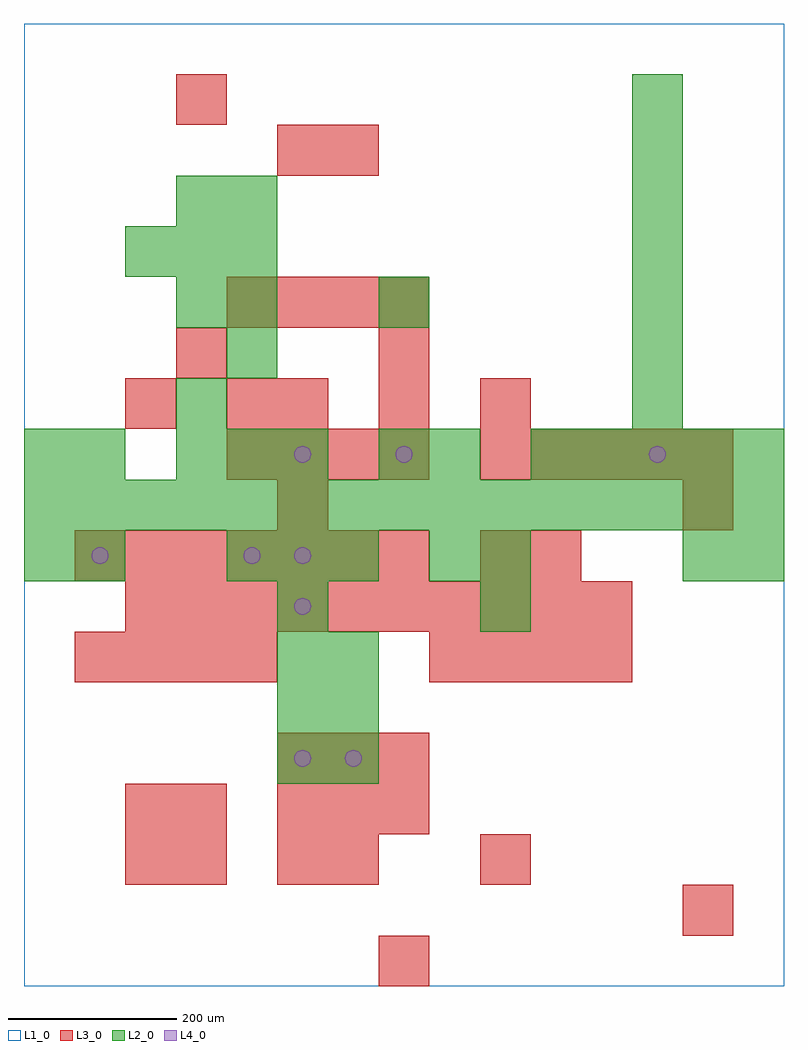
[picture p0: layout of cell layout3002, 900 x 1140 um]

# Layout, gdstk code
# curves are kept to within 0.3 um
import gdstk
lib = gdstk.Library(unit=1e-6, precision=1e-09)
def R(c, l, rs):  # rectangles x0, y0, x1, y1
    for r in rs: c.add(gdstk.rectangle(r[:2], r[2:], *l))
def A(c, l, x, y, w, h, nx, ny, dx, dy):  # array of equal rectangles
    R(c, l, [(x+i*dx, y+j*dy, x+i*dx+w, y+j*dy+h) for i in range(nx) for j in range(ny)])
def P(c, l, *ps):  # polygons
    for p in ps: c.add(gdstk.Polygon(p, *l))
L1_0 = (1, 0)
L2_0 = (2, 0)
L3_0 = (3, 0)
L4_0 = (4, 0)

layout3002 = lib.new_cell('layout3002')
R(layout3002, L1_0, [(0,0,900,1140)])
A(layout3002, L2_0, 300, 240, 60, 60, 1, 4, 0, 60)
A(layout3002, L2_0, 360, 240, 60, 60, 1, 3, 0, 60)
A(layout3002, L2_0, 240, 480, 60, 60, 3, 1, 60, 0)
A(layout3002, L2_0, 0, 540, 60, 60, 15, 1, 60, 0)
A(layout3002, L2_0, 180, 600, 60, 60, 3, 1, 60, 0)
A(layout3002, L2_0, 600, 600, 60, 60, 5, 1, 60, 0)
A(layout3002, L2_0, 180, 660, 60, 60, 1, 3, 0, 120)
A(layout3002, L2_0, 720, 660, 60, 60, 1, 7, 0, 60)
A(layout3002, L2_0, 120, 840, 60, 60, 3, 1, 60, 0)
R(layout3002, L2_0, [(540,420,600,480), (0,480,60,540), (60,480,120,540), (480,480,540,540), (540,480,600,540), (780,480,840,540), (840,480,900,540), (0,600,60,660), (60,600,120,660), (420,600,480,660), (480,600,540,660), (240,720,300,780), (240,780,300,840), (420,780,480,840), (240,900,300,960)])
A(layout3002, L3_0, 300, 120, 60, 60, 1, 3, 0, 420)
A(layout3002, L3_0, 300, 180, 60, 60, 3, 2, 60, 60)
A(layout3002, L3_0, 60, 360, 60, 60, 4, 1, 60, 0)
A(layout3002, L3_0, 480, 360, 60, 60, 4, 1, 60, 0)
A(layout3002, L3_0, 120, 420, 60, 60, 10, 1, 60, 0)
A(layout3002, L3_0, 60, 480, 60, 60, 7, 1, 60, 0)
A(layout3002, L3_0, 240, 600, 60, 60, 4, 2, 60, 180)
A(layout3002, L3_0, 540, 600, 60, 60, 5, 1, 60, 0)
A(layout3002, L3_0, 300, 660, 60, 60, 3, 1, 120, 0)
R(layout3002, L3_0, [(420,0,480,60), (780,60,840,120), (120,120,180,180), (180,120,240,180), (360,120,420,180), (540,120,600,180), (120,180,180,240), (180,180,240,240), (540,480,600,540), (600,480,660,540), (780,540,840,600), (120,660,180,720), (240,660,300,720), (180,720,240,780), (420,720,480,780), (360,960,420,1020), (180,1020,240,1080)])
P(layout3002, L4_0, [(100,510),(99.239,513.827),(97.071,517.071),(93.827,519.239),(90,520),(86.173,519.239),(82.929,517.071),(80.761,513.827),(80,510),(80.761,506.173),(82.929,502.929),(86.173,500.761),(90,500),(93.827,500.761),(97.071,502.929),(99.239,506.173)],
  [(280,510),(279.239,513.827),(277.071,517.071),(273.827,519.239),(270,520),(266.173,519.239),(262.929,517.071),(260.761,513.827),(260,510),(260.761,506.173),(262.929,502.929),(266.173,500.761),(270,500),(273.827,500.761),(277.071,502.929),(279.239,506.173)],
  [(340,270),(339.239,273.827),(337.071,277.071),(333.827,279.239),(330,280),(326.173,279.239),(322.929,277.071),(320.761,273.827),(320,270),(320.761,266.173),(322.929,262.929),(326.173,260.761),(330,260),(333.827,260.761),(337.071,262.929),(339.239,266.173)],
  [(340,450),(339.239,453.827),(337.071,457.071),(333.827,459.239),(330,460),(326.173,459.239),(322.929,457.071),(320.761,453.827),(320,450),(320.761,446.173),(322.929,442.929),(326.173,440.761),(330,440),(333.827,440.761),(337.071,442.929),(339.239,446.173)],
  [(340,510),(339.239,513.827),(337.071,517.071),(333.827,519.239),(330,520),(326.173,519.239),(322.929,517.071),(320.761,513.827),(320,510),(320.761,506.173),(322.929,502.929),(326.173,500.761),(330,500),(333.827,500.761),(337.071,502.929),(339.239,506.173)],
  [(340,630),(339.239,633.827),(337.071,637.071),(333.827,639.239),(330,640),(326.173,639.239),(322.929,637.071),(320.761,633.827),(320,630),(320.761,626.173),(322.929,622.929),(326.173,620.761),(330,620),(333.827,620.761),(337.071,622.929),(339.239,626.173)],
  [(400,270),(399.239,273.827),(397.071,277.071),(393.827,279.239),(390,280),(386.173,279.239),(382.929,277.071),(380.761,273.827),(380,270),(380.761,266.173),(382.929,262.929),(386.173,260.761),(390,260),(393.827,260.761),(397.071,262.929),(399.239,266.173)],
  [(460,630),(459.239,633.827),(457.071,637.071),(453.827,639.239),(450,640),(446.173,639.239),(442.929,637.071),(440.761,633.827),(440,630),(440.761,626.173),(442.929,622.929),(446.173,620.761),(450,620),(453.827,620.761),(457.071,622.929),(459.239,626.173)],
  [(760,630),(759.239,633.827),(757.071,637.071),(753.827,639.239),(750,640),(746.173,639.239),(742.929,637.071),(740.761,633.827),(740,630),(740.761,626.173),(742.929,622.929),(746.173,620.761),(750,620),(753.827,620.761),(757.071,622.929),(759.239,626.173)])

lib.write_gds('layout3002.gds')
